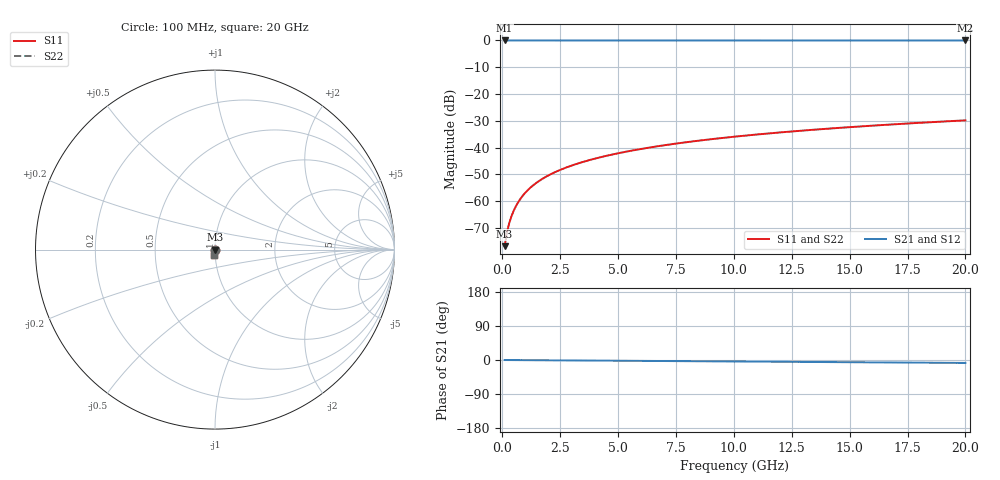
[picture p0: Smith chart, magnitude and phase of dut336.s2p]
! Touchstone file exported from HFSS 2026.1.0
!  File:  C:/ffzhzh/LocalFiles/Ansys_Project_Files/temp_train_TSV_336_1783018715_51716.aedt
!  Generated:  03:00:52 AM Jul  3, 2026
!  Design:  TSV
!  Project:  temp_train_TSV_336_1783018715_51716
! Variables:
!  h_bsmrdl = 2um
!  h_ox = 20um
!  h_rdl = 5um
!  h_sub = 76.33um
!  h_tmrdl = 5um
!  h_tsv = 76.33um
!  h_via = 3um
!  l_bsmrdl = 300um
!  l_sub = 427.6um
!  l_tmrdl = 200um
!  m_sub = 200um
!  pitch = 44.2um
!  r_tsv = 13.8um
!  s_tmrdl = 10um
!  w_bsmrdl = 18um
!  w_sub = 500um
!  w_tmrdl = 12um
!  x_tsv_center1 = 206um
!  x_tsv_center2 = 524um
!  x_tsv_center3 = 736um
!  x_tsv_center4 = 1054um
!  x_tsv_center5 = 1266um
!  x_tsv_center6 = 1584um
# GHz S MA R 50.000000
! Terminal data exported
! Port[1] = TSV1_1_T1
! Port[2] = TSV1_1_T2
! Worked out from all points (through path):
!   200 points, 100 MHz to 20 GHz, reference 50 ohm
!   highest |S21| = 0.00 dB at 100 MHz (marker M1); lowest = 0.0 dB at 20 GHz (marker M2)
!   group delay of S21, straight-line fit = 1.08 ps
!   lowest |S11| = -76.9 dB at 100 MHz (marker M3), VSWR 1.00, Z = 50 - j0.0119 ohm
!   |S11| at or under -10 dB: start of sweep to end of sweep
!   |S22| runs from -76.9 to -29.9 dB; largest |S21 - S12| = 4.2e-15
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0.1  0.0001435 -56.1  0.9999 -0.0  0.9999 -0.0  0.0001435 -56.1
! Gamma 0 0 0 0
! Port Impedance 50 0 50 0
0.2  0.0002595 -68.8  0.9999 -0.1  0.9999 -0.1  0.0002595 -68.8
0.3  0.0003882 -73.0  0.9999 -0.1  0.9999 -0.1  0.0003882 -73.0
0.4  0.0005256 -75.0  0.9999 -0.2  0.9999 -0.2  0.0005256 -75.0
0.5  0.0006698 -76.3  0.9998 -0.2  0.9998 -0.2  0.0006698 -76.3
0.7  0.0009721 -78.1  0.9998 -0.3  0.9998 -0.3  0.0009721 -78.1
0.8  0.001127 -78.9  0.9998 -0.3  0.9998 -0.3  0.001127 -78.9
1  0.001442 -80.2  0.9997 -0.4  0.9997 -0.4  0.001442 -80.2
1.2  0.001758 -81.4  0.9997 -0.5  0.9997 -0.5  0.001758 -81.4
1.4  0.002075 -82.3  0.9997 -0.6  0.9997 -0.6  0.002075 -82.3
1.7  0.002551 -83.4  0.9997 -0.7  0.9997 -0.7  0.002551 -83.4
2  0.003026 -84.3  0.9997 -0.8  0.9997 -0.8  0.003026 -84.3
2.7  0.004134 -85.7  0.9996 -1.1  0.9996 -1.1  0.004134 -85.7
3.5  0.005404 -86.8  0.9995 -1.4  0.9995 -1.4  0.005404 -86.8
4.2  0.00652 -87.5  0.9995 -1.6  0.9995 -1.6  0.00652 -87.5
5  0.007802 -88.1  0.9994 -2.0  0.9994 -2.0  0.007802 -88.1
6.8  0.0107 -89.4  0.9993 -2.7  0.9993 -2.7  0.0107 -89.4
8.3  0.01313 -90.3  0.9992 -3.2  0.9992 -3.2  0.01313 -90.3
10.1  0.01605 -91.3  0.9991 -3.9  0.9991 -3.9  0.01605 -91.3
13.4  0.02142 -92.9  0.9989 -5.2  0.9989 -5.2  0.02142 -92.9
16.7  0.02679 -94.4  0.9987 -6.5  0.9987 -6.5  0.02679 -94.4
20  0.03217 -95.9  0.9984 -7.8  0.9984 -7.8  0.03217 -95.9
